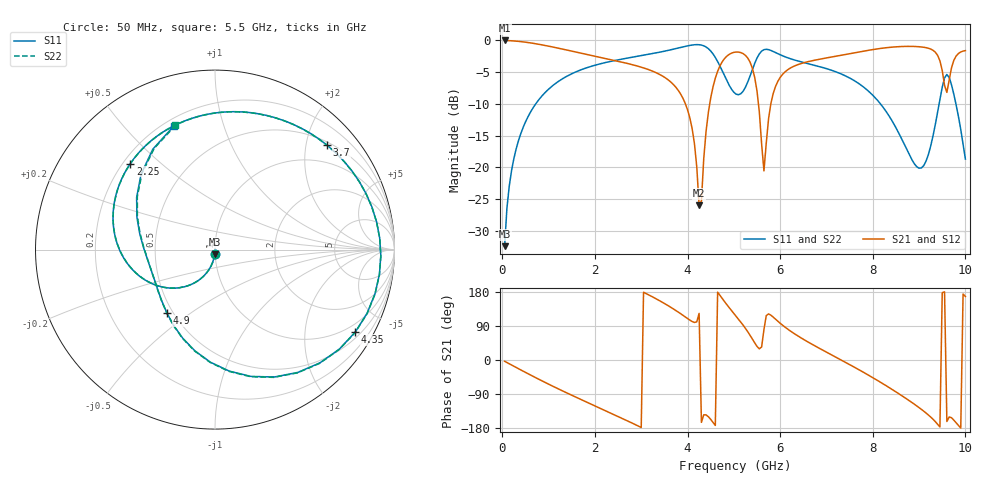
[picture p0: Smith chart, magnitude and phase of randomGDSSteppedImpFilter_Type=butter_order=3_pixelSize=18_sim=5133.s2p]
! freq	dB(S11)	phase(S11)	dB(S12)	phase(S12)
!  dB(S21)	phase(S21)	dB(S22)	phase(S22)
!S-par simulation data
#  GHz  S  DB  R 50
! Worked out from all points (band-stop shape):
!   200 points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, 50 MHz to 10 GHz, reference 50 ohm
!   highest |S21| = -0.01 dB at 50 MHz (marker M1); lowest = -26.0 dB at 4.25 GHz (marker M2)
!   |S21| within 3 dB of the highest: start of sweep to 2.333 GHz; 6.818 GHz to 9.438 GHz (2.62 GHz wide, 32.2 % of centre) (the widest 2 of 4)
!   lowest |S11| = -32.4 dB at 50 MHz (marker M3), VSWR 1.05, Z = 49.8 - j2.39 ohm
!   |S11| at or under -10 dB: start of sweep to 721.6 MHz; 8.167 GHz to 9.432 GHz (1.265 GHz wide, 14.4 % of centre); 9.796 GHz to end of sweep
!   |S22| runs from -32.4 to -0.7 dB; largest |S21 - S12| = 0
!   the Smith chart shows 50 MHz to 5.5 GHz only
!   S11 on the Smith chart (normalised r, x): 50 MHz: 1.00, -0.05; 2.25 GHz: 0.23, +0.40; 3.7 GHz: 0.57, +2.43; 4.35 GHz: 0.69, -3.55; 4.9 GHz: 0.46, -0.41; 5.5 GHz: 0.24, +0.69
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0.05  -32.39 -93.3  -0.01 -3.4  -0.01 -3.4  -32.39 -93.3
0.5  -12.85 -123.2  -0.28 -32.7  -0.28 -32.7  -12.85 -123.2
1.75  -4.49 162.4  -2.09 -107.1  -2.09 -107.1  -4.49 162.2
2.25  -3.45 134.5  -2.88 -134.9  -2.88 -134.9  -3.44 134.3
3.4  -1.85 65.4  -5.37 156.2  -5.37 156.2  -1.85 65.0
3.7  -1.38 43.0  -6.98 134.4  -6.98 134.4  -1.37 42.6
4.1  -0.73 4.1  -13.91 101.5  -13.91 101.5  -0.72 3.8
4.25  -0.68 -15.3  -25.95 122.9  -25.95 122.9  -0.67 -15.7
4.35  -0.85 -30.4  -18.62 -144.6  -18.62 -144.6  -0.85 -30.8
4.6  -2.68 -74.1  -5.94 -172.6  -5.94 -172.6  -2.68 -74.5
4.9  -7.07 -127.1  -2.19 138.1  -2.19 138.1  -7.07 -127.5
5.05  -8.47 -153.3  -1.83 115.4  -1.83 115.4  -8.47 -153.8
5.5  -2.78 108.5  -7.97 35.9  -7.97 35.9  -2.78 107.6
5.65  -1.46 69.4  -20.54 80.2  -20.54 80.2  -1.46 68.6
5.9  -1.91 23.2  -7.25 107.7  -7.25 107.7  -1.91 22.5
6.7  -3.84 -47.6  -3.18 40.7  -3.18 40.7  -3.83 -48.0
7.6  -6.33 -105.8  -1.96 -18.8  -1.96 -18.8  -6.32 -105.9
8.35  -11.87 -158.0  -1.10 -72.5  -1.10 -72.5  -11.86 -157.5
9.05  -20.07 130.8  -1.03 -130.2  -1.03 -130.2  -20.12 131.5
9.35  -13.25 84.2  -1.85 -162.6  -1.85 -162.6  -13.27 83.4
9.6  -5.37 6.1  -8.18 -162.4  -8.18 -162.4  -5.37 4.9
10  -18.67 -44.9  -1.61 167.8  -1.61 167.8  -18.78 -46.2
